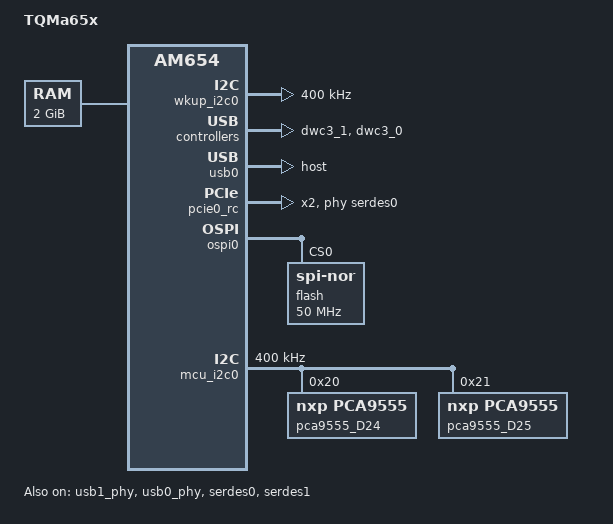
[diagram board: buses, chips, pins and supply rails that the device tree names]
// SPDX-License-Identifier: GPL-2.0
/*
 * Copyright (C) 2016-2018 Texas Instruments Incorporated - http://www.ti.com/
 * Copyright (C) 2020 TQ Systems
 */

/dts-v1/;

#include "am654-tqma65xx.dtsi"
#include <dt-bindings/pinctrl/k3.h>
#include <dt-bindings/phy/phy.h>
#include <dt-bindings/phy/phy-am654-serdes.h>

/ {
	compatible =  "ti,am654-evm", "ti,am654";
	model = "TQMa65x";

	chosen {
		stdout-path = "serial2:115200n8";
		bootargs = "earlycon=ns16550a,mmio32,0x02800000";
	};

	aliases {
		remoteproc0 = &mcu_r5fss0_core0;
		remoteproc1 = &mcu_r5fss0_core1;
	};

	memory@80000000 {
		device_type = "memory";
		/* 2GB RAM */
		reg = <0x00000000 0x80000000 0x00000000 0x80000000>;
	};

	reserved-memory {
		#address-cells = <2>;
		#size-cells = <2>;
		ranges;
		secure_ddr: secure_ddr@9e800000 {
			reg = <0 0x9e800000 0 0x01800000>; /* for OP-TEE */
			alignment = <0x1000>;
			no-map;
		};
	};
};

&main_pmx0 {
	usb0_pins_default: usb0_pins_default {
		pinctrl-single,pins = <
			AM65X_IOPAD(0x02bc, PIN_OUTPUT, 0) /* (AD9) USB0_DRVVBUS */
		>;
	};

	usb1_pins_default: usb1_pins_default {
		pinctrl-single,pins = <
			AM65X_IOPAD(0x02c0, PIN_OUTPUT_PULLUP, 0) /* (AC8) USB1_DRVVBUS */
		>;
	};	
};

&wkup_pmx0 {
	wkup_i2c0_pins_default: wkup-i2c0-pins-default {
		pinctrl-single,pins = <
			AM65X_WKUP_IOPAD(0x00e0, PIN_INPUT, 0) /* (AC7) WKUP_I2C0_SCL */
			AM65X_WKUP_IOPAD(0x00e4, PIN_INPUT, 0) /* (AD6) WKUP_I2C0_SDA */
		>;
	};

	mcu_i2c_pins_default: mcu-i2c-pins-default {
		pinctrl-single,pins = <
			AM65X_WKUP_IOPAD(0x00e8, PIN_INPUT, 0) /* (AD8) MCU_I2C0_SCL */
			AM65X_WKUP_IOPAD(0x00ec, PIN_INPUT, 0) /* (AD7) MCU_I2C0_SDA */
		>;
	};

	mcu_fss0_ospi0_pins_default: mcu-fss0-ospi0-pins_default {
		pinctrl-single,pins = <
			AM65X_WKUP_IOPAD(0x0000, PIN_OUTPUT, 0) /* (V1) MCU_OSPI0_CLK */
			AM65X_WKUP_IOPAD(0x0008, PIN_INPUT, 0)	 /* (U2) MCU_OSPI0_DQS */
			AM65X_WKUP_IOPAD(0x000c, PIN_INPUT, 0)  /* (U4) MCU_OSPI0_D0 */
			AM65X_WKUP_IOPAD(0x0010, PIN_INPUT, 0)  /* (U5) MCU_OSPI0_D1 */
			AM65X_WKUP_IOPAD(0x0014, PIN_INPUT, 0)  /* (T2) MCU_OSPI0_D2 */
			AM65X_WKUP_IOPAD(0x0018, PIN_INPUT, 0)  /* (T3) MCU_OSPI0_D3 */
			AM65X_WKUP_IOPAD(0x001c, PIN_INPUT, 0)  /* (T4) MCU_OSPI0_D4 */
			AM65X_WKUP_IOPAD(0x0020, PIN_INPUT, 0)  /* (T5) MCU_OSPI0_D5 */
			AM65X_WKUP_IOPAD(0x0024, PIN_INPUT, 0)  /* (R2) MCU_OSPI0_D6 */
			AM65X_WKUP_IOPAD(0x0028, PIN_INPUT, 0)  /* (R3) MCU_OSPI0_D7 */
			AM65X_WKUP_IOPAD(0x002c, PIN_OUTPUT, 0) /* (R4) MCU_OSPI0_CSn0 */
		>;
	};
};

&wkup_i2c0 {
	pinctrl-names = "default";
	pinctrl-0 = <&wkup_i2c0_pins_default>;
	clock-frequency = <400000>;
};

&dwc3_1 {
	status = "okay";
};

&usb1_phy {
	status = "okay";
};

&usb1 {
	pinctrl-names = "default";
	pinctrl-0 = <&usb1_pins_default>;
};

&dwc3_0 {
	status = "okay";
};

&usb0_phy {
	status = "okay";
};

&usb0 {
	pinctrl-names = "default";
	pinctrl-0 = <&usb0_pins_default>;
	dr_mode = "host";
	status = "okay";
};

&serdes0 {
	assigned-clocks = <&k3_clks 153 4>, <&serdes0 AM654_SERDES_CMU_REFCLK>, <&serdes0 AM654_SERDES_RO_REFCLK>;
	assigned-clock-parents = <&k3_clks 153 8>, <&k3_clks 153 4>, <&k3_clks 153 4>;
	status = "okay";
};

&serdes1 {
	status = "okay";
};

&pcie0_rc {
	num-lanes = <2>;
	phys = <&serdes0 PHY_TYPE_PCIE 1>, <&serdes1 PHY_TYPE_PCIE 1>;
	phy-names = "pcie-phy0", "pcie-phy1";
	status = "okay";
};

&ospi0 {
	pinctrl-names = "default";
	pinctrl-0 = <&mcu_fss0_ospi0_pins_default>;

	flash@0{
		compatible = "jedec,spi-nor";
		reg = <0x0>;
		spi-tx-bus-width = <8>;
		spi-rx-bus-width = <8>;
		spi-max-frequency = <50000000>;
		cdns,tshsl-ns = <60>;
		cdns,tsd2d-ns = <60>;
		cdns,tchsh-ns = <60>;
		cdns,tslch-ns = <60>;
		cdns,read-delay = <0>;
		cdns,phy-mode;
		#address-cells = <1>;
		#size-cells = <1>;
	};
};

&mcu_i2c0 {
	pinctrl-names = "default";
	pinctrl-0 = <&mcu_i2c_pins_default>;
	clock-frequency = <400000>;

	pca9555_D24: gpio@20 {
		compatible = "nxp,pca9555";
		reg = <0x20>;
		gpio-controller;
		#gpio-cells = <2>;
	};

	pca9555_D25: gpio@21 {
		compatible = "nxp,pca9555";
		reg = <0x21>;
		gpio-controller;
		#gpio-cells = <2>;
	};
};
